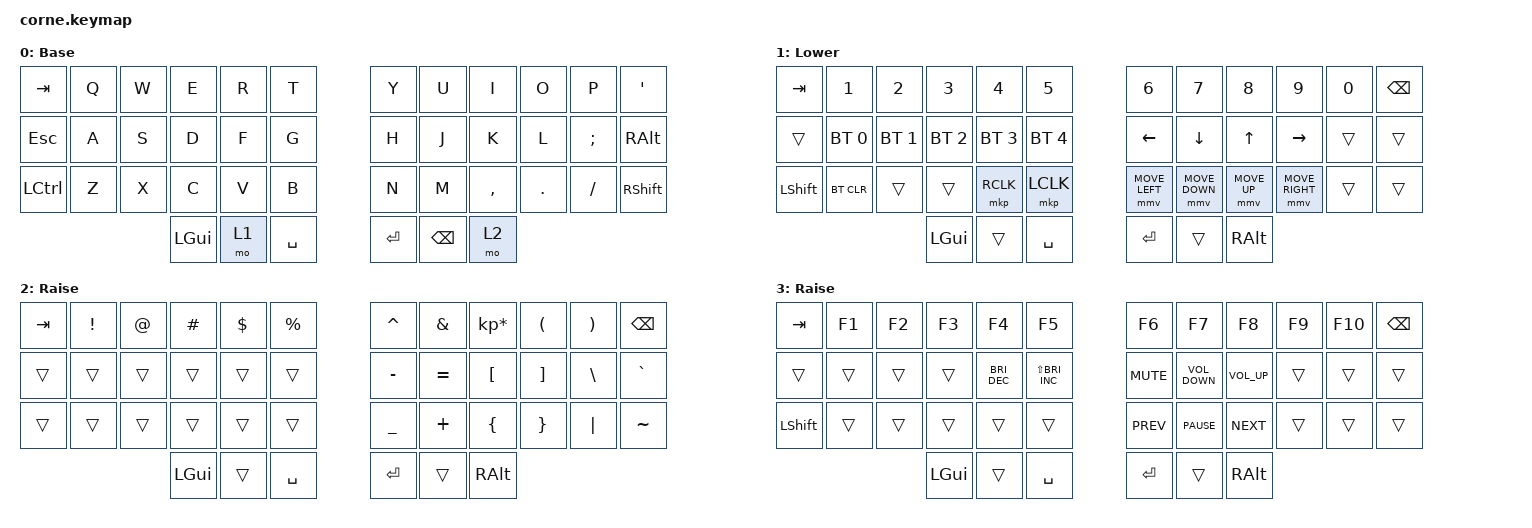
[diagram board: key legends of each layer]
/*
 * Copyright (c) 2020 The ZMK Contributors
 *
 * SPDX-License-Identifier: MIT
 */

#include <behaviors.dtsi>
#include <dt-bindings/zmk/bt.h>
#include <dt-bindings/zmk/keys.h>
#include <dt-bindings/zmk/pointing.h>

/ {
    keymap {
        compatible = "zmk,keymap";

        default_layer {
            // -----------------------------------------------------------------------------------------
            // |  TAB |  Q  |  W  |  E  |  R  |  T  |   |  Y  |  U   |  I  |  O  |  P  | BKSP |
            // | CTRL |  A  |  S  |  D  |  F  |  G  |   |  H  |  J   |  K  |  L  |  ;  |  '   |
            // | SHFT |  Z  |  X  |  C  |  V  |  B  |   |  N  |  M   |  ,  |  .  |  /  | ESC  |
            //                    | GUI | LWR | SPC |   | ENT | RSE  | ALT |

            display-name = "Base";
            bindings = <
&kp TAB     &kp Q  &kp W  &kp E     &kp R  &kp T        &kp Y    &kp U          &kp I      &kp O    &kp P     &kp SQT
&kp ESCAPE  &kp A  &kp S  &kp D     &kp F  &kp G        &kp H    &kp J          &kp K      &kp L    &kp SEMI  &kp RALT
&kp LCTRL   &kp Z  &kp X  &kp C     &kp V  &kp B        &kp N    &kp M          &kp COMMA  &kp DOT  &kp FSLH  &kp RSHIFT
                          &kp LGUI  &mo 1  &kp SPACE    &kp RET  &kp BACKSPACE  &mo 2
            >;
        };

        lower_layer {
            // -----------------------------------------------------------------------------------------
            // |  TAB |  1  |  2  |  3  |  4  |  5  |   |  6  |  7  |  8  |  9  |  0  | BKSP |
            // | BTCLR| BT1 | BT2 | BT3 | BT4 | BT5 |   | LFT | DWN |  UP | RGT |     |      |
            // | SHFT |     |     |     |     |     |   |     |     |     |     |     |      |
            //                    | GUI |     | SPC |   | ENT |     | ALT |

            display-name = "Lower";
            bindings = <
&kp TAB    &kp N1        &kp N2        &kp N3        &kp N4        &kp N5          &kp N6          &kp N7          &kp N8        &kp N9           &kp N0  &kp BSPC
&trans     &bt BT_SEL 0  &bt BT_SEL 1  &bt BT_SEL 2  &bt BT_SEL 3  &bt BT_SEL 4    &kp LEFT        &kp DOWN        &kp UP        &kp RIGHT        &trans  &trans
&kp LSHFT  &bt BT_CLR    &trans        &trans        &mkp RCLK     &mkp LCLK       &mmv MOVE_LEFT  &mmv MOVE_DOWN  &mmv MOVE_UP  &mmv MOVE_RIGHT  &trans  &trans
                                       &kp LGUI      &trans        &kp SPACE       &kp RET         &trans          &kp RALT
            >;
        };

        raise_layer {
            // -----------------------------------------------------------------------------------------
            // |  TAB |  !  |  @  |  #  |  $  |  %  |   |  ^  |  &  |  *  |  (  |  )  | BKSP |
            // | CTRL |     |     |     |     |     |   |  -  |  =  |  [  |  ]  |  \  |  `   |
            // | SHFT |     |     |     |     |     |   |  _  |  +  |  {  |  }  | "|" |  ~   |
            //                    | GUI |     | SPC |   | ENT |     | ALT |

            display-name = "Raise";
            bindings = <
&kp TAB  &kp EXCL  &kp AT  &kp HASH  &kp DLLR  &kp PRCNT    &kp CARET  &kp AMPS   &kp KP_MULTIPLY  &kp LPAR  &kp RPAR  &kp BSPC
&trans   &trans    &trans  &trans    &trans    &trans       &kp MINUS  &kp EQUAL  &kp LBKT         &kp RBKT  &kp BSLH  &kp GRAVE
&trans   &trans    &trans  &trans    &trans    &trans       &kp UNDER  &kp PLUS   &kp LBRC         &kp RBRC  &kp PIPE  &kp TILDE
                           &kp LGUI  &trans    &kp SPACE    &kp RET    &trans     &kp RALT
            >;
        };

        BOTH_LAYER {
            display-name = "Raise";
            bindings = <
&kp TAB    &kp F1  &kp F2  &kp F3    &kp F4                &kp F5                      &kp F6      &kp F7             &kp F8           &kp F9  &kp F10  &kp BSPC
&trans     &trans  &trans  &trans    &kp C_BRIGHTNESS_DEC  &kp LS(C_BRIGHTNESS_INC)    &kp K_MUTE  &kp C_VOLUME_DOWN  &kp C_VOLUME_UP  &trans  &trans   &trans
&kp LSHFT  &trans  &trans  &trans    &trans                &trans                      &kp C_PREV  &kp C_PAUSE        &kp C_NEXT       &trans  &trans   &trans
                           &kp LGUI  &trans                &kp SPACE                   &kp RET     &trans             &kp RALT
            >;
        };
    };

    conditional_layers {
        compatible = "zmk,conditional-layers";

        third {
            if-layers = <1 2>;
            then-layer = <4>;
        };
    };
};
